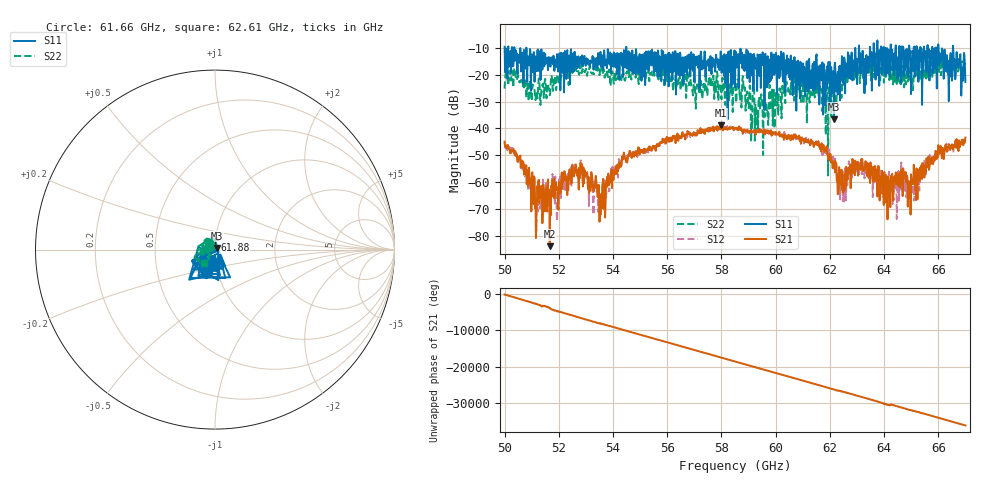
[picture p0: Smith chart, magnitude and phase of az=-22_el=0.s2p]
!Created with skrf (http://scikit-rf.org).
# GHz S RI R 50.0
!freq ReS11 ImS11 ReS21 ImS21 ReS12 ImS12 ReS22 ImS22
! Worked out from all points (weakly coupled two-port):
!   1001 points, 50 GHz to 67 GHz, reference 50 ohm
!   highest |S21| = -38.93 dB at 57.99 GHz (marker M1); lowest = -83.9 dB at 51.67 GHz (marker M2)
!   lowest |S11| = -36.7 dB at 62.16 GHz (marker M3), VSWR 1.03, Z = 51.1 + j0.953 ohm
!   |S11| at or under -10 dB: 50.8 GHz to 54.49 GHz (3.687 GHz wide, 7 % of centre); 54.49 GHz to 62.94 GHz (8.447 GHz wide, 14.4 % of centre); 66.01 GHz to 66.54 GHz (528.4 MHz wide, 0.797 % of centre) (the widest 3 of 29)
!   |S22| runs from -57.5 to -13.8 dB; largest |S21 - S12| = 0.0026
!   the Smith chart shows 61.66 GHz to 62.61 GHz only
!   S11 on the Smith chart (normalised r, x): 61.66 GHz: 0.98, -0.16; 61.88 GHz: 0.99, +0.11; 62.61 GHz: 0.87, -0.11
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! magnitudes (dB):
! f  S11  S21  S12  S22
! 50 GHz  -9.6  -44.9  -45.4  -25.2
! 51.16 GHz  -13.5  -80.9  -68.8  -27.9
! 51.67 GHz  -15.7  -83.9  -69.2  -27.7
! 52.84 GHz  -13.7  -56.3  -55.7  -19.4
! 53.52 GHz  -13.2  -67.4  -67.1  -18.7
! 54.35 GHz  -12.5  -51.7  -51.6  -18.1
! 55.68 GHz  -13.5  -46.3  -47.0  -21.8
! 57.99 GHz  -13.6  -38.9  -39.8  -28.9
! 58.5 GHz  -24.6  -39.8  -40.3  -24.0
! 59.32 GHz  -26.1  -40.8  -40.9  -33.3
! 60.64 GHz  -14.7  -44.1  -42.6  -22.5
! 61.34 GHz  -25.1  -45.2  -45.2  -25.4
! 61.66 GHz  -22.1  -46.1  -46.5  -26.5
! 61.88 GHz  -25.3  -46.6  -48.4  -22.8
! 62.16 GHz  -36.7  -54.5  -53.8  -28.3
! 62.39 GHz  -16.8  -59.6  -61.4  -18.8
! 62.61 GHz  -20.8  -58.6  -57.7  -20.3
! 63.4 GHz  -14.7  -56.6  -53.0  -17.7
! 64.18 GHz  -17.6  -64.5  -56.2  -18.5
! 65.11 GHz  -9.5  -56.8  -66.9  -16.7
! 65.64 GHz  -10.3  -50.4  -52.3  -19.1
! 67 GHz  -22.7  -43.5  -44.7  -15.8
